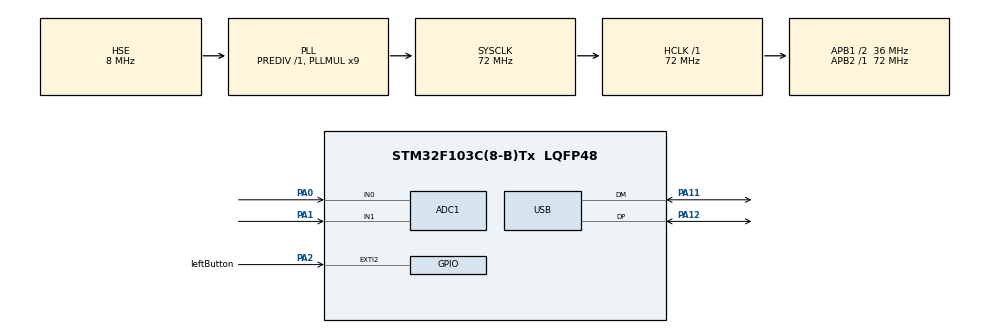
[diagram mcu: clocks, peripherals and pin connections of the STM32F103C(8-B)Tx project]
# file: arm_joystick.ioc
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ADC1.Channel-2\#ChannelRegularConversion=ADC_CHANNEL_0
ADC1.Channel-3\#ChannelRegularConversion=ADC_CHANNEL_1
ADC1.ContinuousConvMode=ENABLE
ADC1.NbrOfConversion=2
ADC1.NbrOfConversionFlag=1
ADC1.Rank-2\#ChannelRegularConversion=1
ADC1.Rank-3\#ChannelRegularConversion=2
ADC1.SamplingTime-2\#ChannelRegularConversion=ADC_SAMPLETIME_239CYCLES_5
ADC1.SamplingTime-3\#ChannelRegularConversion=ADC_SAMPLETIME_239CYCLES_5
ADC1.master=1
Dma.ADC1.0.Direction=DMA_PERIPH_TO_MEMORY
Dma.ADC1.0.Instance=DMA1_Channel1
Dma.ADC1.0.MemDataAlignment=DMA_MDATAALIGN_HALFWORD
Dma.ADC1.0.MemInc=DMA_MINC_ENABLE
Dma.ADC1.0.Mode=DMA_CIRCULAR
Dma.ADC1.0.PeriphDataAlignment=DMA_PDATAALIGN_HALFWORD
Dma.ADC1.0.PeriphInc=DMA_PINC_DISABLE
Dma.ADC1.0.Priority=DMA_PRIORITY_LOW
Dma.Request0=ADC1
Mcu.Family=STM32F1
Mcu.Name=STM32F103C(8-B)Tx
Mcu.Package=LQFP48
NVIC.DMA1_Channel1_IRQn=true\:0\:0\:false\:false\:true\:false\:true\:true
NVIC.EXTI2_IRQn=true\:0\:0\:false\:false\:true\:true\:true\:true
NVIC.PriorityGroup=NVIC_PRIORITYGROUP_4
NVIC.USB_LP_CAN1_RX0_IRQn=true\:0\:0\:false\:false\:true\:false\:true\:true
PA0-WKUP.Signal=ADCx_IN0
PA1.Signal=ADCx_IN1
PA11.Mode=Device
PA11.Signal=USB_DM
PA12.Mode=Device
PA12.Signal=USB_DP
PA13.Mode=JTAG_4_pins
PA13.Signal=SYS_JTMS-SWDIO
PA14.Mode=JTAG_4_pins
PA14.Signal=SYS_JTCK-SWCLK
PA15.Mode=JTAG_4_pins
PA15.Signal=SYS_JTDI
PA2.GPIO_Label=leftButton
PA2.GPIO_ModeDefaultEXTI=GPIO_MODE_IT_RISING_FALLING
PA2.GPIO_PuPd=GPIO_PULLUP
PA2.Signal=GPXTI2
PB3.Mode=JTAG_4_pins
PB3.Signal=SYS_JTDO-TRACESWO
PD0-OSC_IN.Mode=HSE-External-Oscillator
PD0-OSC_IN.Signal=RCC_OSC_IN
PD1-OSC_OUT.Mode=HSE-External-Oscillator
PD1-OSC_OUT.Signal=RCC_OSC_OUT
ProjectManager.HeapSize=0x200
ProjectManager.StackSize=0x400
ProjectManager.TargetToolchain=MDK-ARM V5.32
RCC.ADCPresc=RCC_ADCPCLK2_DIV6
RCC.AHBFreq_Value=72000000
RCC.APB1CLKDivider=RCC_HCLK_DIV2
RCC.APB1Freq_Value=36000000
RCC.APB1TimFreq_Value=72000000
RCC.APB2Freq_Value=72000000
RCC.APB2TimFreq_Value=72000000
RCC.HCLKFreq_Value=72000000
RCC.PLLMUL=RCC_PLL_MUL9
RCC.PLLSourceVirtual=RCC_PLLSOURCE_HSE
RCC.SYSCLKFreq_VALUE=72000000
RCC.SYSCLKSource=RCC_SYSCLKSOURCE_PLLCLK
RCC.USBFreq_Value=48000000
RCC.USBPrescaler=RCC_USBCLKSOURCE_PLL_DIV1_5
SH.ADCx_IN0.0=ADC1_IN0,IN0
SH.ADCx_IN1.0=ADC1_IN1,IN1
USB_DEVICE.CLASS_NAME_FS=HID
USB_DEVICE.MANUFACTURER_STRING=Snostorm
USB_DEVICE.PID_HID_FS=0x608D
USB_DEVICE.PRODUCT_STRING_HID_FS=ARM Joystick
USB_DEVICE.VID=0x17ef
USB_DEVICE.VirtualMode=Hid
USB_DEVICE.VirtualModeFS=Hid_FS
VP_USB_DEVICE_VS_USB_DEVICE_HID_FS.Mode=HID_FS
board=custom

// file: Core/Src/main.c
/* USER CODE BEGIN Header */
/**
  ******************************************************************************
  * @file           : main.c
  * @brief          : Main program body
  ******************************************************************************
  * @attention
  *
  * Copyright (c) 2023 STMicroelectronics.
  * All rights reserved.
  *
  * This software is licensed under terms that can be found in the LICENSE file
  * in the root directory of this software component.
  * If no LICENSE file comes with this software, it is provided AS-IS.
  *
  ******************************************************************************
  */
/* USER CODE END Header */
#include "main.h"
#include "usb_device.h"

/* USER CODE BEGIN Includes */
#include "usbd_hid.h"
#include "usbd_def.h"
/* USER CODE END Includes */

/* USER CODE BEGIN PTD */
typedef __packed struct _mouseReport_t
{
  //byte 0
  uint8_t leftButton  : 1;
  uint8_t rightButton : 1;
  uint8_t midButton   : 1;
  uint8_t res_0003    : 5;
  //byte 1
  int8_t x;
  //byte 2
  int8_t y;
  //byte 3
  int8_t wheel;
} mouseReport_t;
/* USER CODE END PTD */

/* USER CODE BEGIN PD */
#define MAX_ADC_VALUE_X       	4095
#define MIN_ADC_VALUE_X       	0
#define MAX_ADC_VALUE_Y       	4095
#define MIN_ADC_VALUE_Y       	0
#define MAX_NATIVE_MOUSE_RANGE	20.f										//127.f - max for this constant
/* USER CODE END PD */

ADC_HandleTypeDef hadc1;
DMA_HandleTypeDef hdma_adc1;

/* USER CODE BEGIN PV */
volatile uint8_t adcConversationFlag = 0;
volatile uint8_t buttonPressedFlag = 0;
volatile uint16_t adcValues[2];
mouseReport_t mouseReport;
extern USBD_HandleTypeDef hUsbDeviceFS;
extern USBD_ClassTypeDef  USBD_HID;
uint8_t adcConversationCounter = 0;
uint8_t zeroSetupFlag = 0;
uint16_t zeroMinX = 65535;
uint16_t zeroMaxX = 0;
uint16_t zeroMinY = 65535;
uint16_t zeroMaxY = 0;
uint16_t rangeMinusX = 0;
uint16_t rangePlusX = 0;
uint16_t rangeMinusY = 0;
uint16_t rangePlusY = 0;
/* USER CODE END PV */

void SystemClock_Config(void);
static void MX_GPIO_Init(void);
static void MX_DMA_Init(void);
static void MX_ADC1_Init(void);

/* USER CODE BEGIN 0 */

/**
  * @brief adc conversation callback (DMA)
  * @param hadc pointer to ADC descriptor
  */
void HAL_ADC_ConvCpltCallback(ADC_HandleTypeDef* hadc)
{
    if (hadc->Instance == ADC1)
        adcConversationFlag = 1;
}

/**
  * @brief EXTI change state callback
  * @param GPIO_Pin number of EXTI pin
  */
void HAL_GPIO_EXTI_Callback(uint16_t GPIO_Pin)
{
  if (GPIO_PIN_2 == GPIO_Pin)
    buttonPressedFlag = 1;
}

/* USER CODE END 0 */

int main(void)
{
  /* USER CODE BEGIN 1 */
  uint8_t tmpButtonState = 0;
  int8_t tmpX = 0;
  int8_t tmpY = 0;
  uint8_t *descriptor = 0;
  uint16_t length = 0;
  /* USER CODE END 1 */

  /* MCU Configuration--------------------------------------------------------*/

  /* Reset of all peripherals, Initializes the Flash interface and the Systick. */
  HAL_Init();

  /* Configure the system clock */
  SystemClock_Config();

  /* USER CODE BEGIN SysInit */
  descriptor = USBD_HID.GetHSConfigDescriptor(&length);
  descriptor[7] = 0x80;// self power - 0
  descriptor = USBD_HID.GetFSConfigDescriptor(&length);
  descriptor[7] = 0x80;// self power - 0
  descriptor = USBD_HID.GetOtherSpeedConfigDescriptor(&length);
  descriptor[7] = 0x80;// self power - 0
  /* USER CODE END SysInit */

  /* Initialize all configured peripherals */
  MX_GPIO_Init();
  MX_DMA_Init();
  MX_ADC1_Init();
  MX_USB_DEVICE_Init();
  /* USER CODE BEGIN 2 */
  memset(&mouseReport, 0, sizeof(mouseReport_t));
  HAL_ADCEx_Calibration_Start(&hadc1);                    //calibrate adc
  HAL_ADC_Start_DMA(&hadc1, (uint32_t *)&adcValues, 2);   //start adc
  /* USER CODE END 2 */

  /* Infinite loop */
  while (1)
  {

    /* USER CODE BEGIN 3 */
    if (0 != adcConversationFlag)
    {
      adcConversationFlag = 0;
      if (adcConversationCounter++ >= 100)                 // 2ms to approximate conversation
      {
        adcConversationCounter = 0;
        if (0 == zeroSetupFlag)
        {
          zeroSetupFlag = 1;
          rangeMinusX = zeroMinX - MIN_ADC_VALUE_X;
          rangePlusX = MAX_ADC_VALUE_X - zeroMaxX;
          rangeMinusY = zeroMinY - MIN_ADC_VALUE_Y;
          rangePlusY = MAX_ADC_VALUE_Y - zeroMaxY;
        }

        tmpX = (adcValues[0] >= zeroMinX && adcValues[0] <= zeroMaxX) ? 0 : (adcValues[0] < zeroMinX) ? 0 - (int8_t)((MAX_NATIVE_MOUSE_RANGE / rangeMinusX) * (zeroMinX - adcValues[0])) :
                                                                                                        (int8_t)((MAX_NATIVE_MOUSE_RANGE / rangePlusX) * (adcValues[0] - zeroMaxX));
        tmpY = (adcValues[1] >= zeroMinY && adcValues[1] <= zeroMaxY) ? 0 : (adcValues[1] < zeroMinY) ? 0 - (int8_t)((MAX_NATIVE_MOUSE_RANGE / rangeMinusY) * (zeroMinY - adcValues[1])) :
                                                                                                        (int8_t)((MAX_NATIVE_MOUSE_RANGE / rangePlusY) * (adcValues[1] - zeroMaxY));
        if (0 != tmpX || 0 != mouseReport.x || 0 != tmpY || 0 != mouseReport.y || tmpButtonState != mouseReport.leftButton || tmpButtonState == 1)
        {
          mouseReport.x = tmpX;
          mouseReport.y = tmpY;
          mouseReport.leftButton = tmpButtonState;
          USBD_HID_SendReport(&hUsbDeviceFS, (uint8_t *)&mouseReport, sizeof(mouseReport_t));
        }
      }
      else if (0 == zeroSetupFlag)
      {
        //X
        if (adcValues[0] > zeroMaxX)
          zeroMaxX = adcValues[0];
        if (adcValues[0] < zeroMinX)
          zeroMinX = adcValues[0];
        //Y
        if (adcValues[1] > zeroMaxY)
          zeroMaxY = adcValues[1];
        if (adcValues[1] < zeroMinY)
          zeroMinY = adcValues[1];
      }
      //TODO: may be get average value for report?
    }
    if (0 != buttonPressedFlag)
    {
      buttonPressedFlag = 0;
      tmpButtonState = (GPIO_PIN_SET == HAL_GPIO_ReadPin(GPIOA, GPIO_PIN_2)) ? 0 : 1;
    }
  }
  /* USER CODE END 3 */
}

void SystemClock_Config(void)
{
  RCC_OscInitTypeDef RCC_OscInitStruct = {0};
  RCC_ClkInitTypeDef RCC_ClkInitStruct = {0};
  RCC_PeriphCLKInitTypeDef PeriphClkInit = {0};

  /** Initializes the RCC Oscillators according to the specified parameters
  * in the RCC_OscInitTypeDef structure.
  */
  RCC_OscInitStruct.OscillatorType = RCC_OSCILLATORTYPE_HSE;
  RCC_OscInitStruct.HSEState = RCC_HSE_ON;
  RCC_OscInitStruct.HSEPredivValue = RCC_HSE_PREDIV_DIV1;
  RCC_OscInitStruct.HSIState = RCC_HSI_ON;
  RCC_OscInitStruct.PLL.PLLState = RCC_PLL_ON;
  RCC_OscInitStruct.PLL.PLLSource = RCC_PLLSOURCE_HSE;
  RCC_OscInitStruct.PLL.PLLMUL = RCC_PLL_MUL9;
  if (HAL_RCC_OscConfig(&RCC_OscInitStruct) != HAL_OK)
  {
    Error_Handler();
  }

  /** Initializes the CPU, AHB and APB buses clocks
  */
  RCC_ClkInitStruct.ClockType = RCC_CLOCKTYPE_HCLK|RCC_CLOCKTYPE_SYSCLK
                              |RCC_CLOCKTYPE_PCLK1|RCC_CLOCKTYPE_PCLK2;
  RCC_ClkInitStruct.SYSCLKSource = RCC_SYSCLKSOURCE_PLLCLK;
  RCC_ClkInitStruct.AHBCLKDivider = RCC_SYSCLK_DIV1;
  RCC_ClkInitStruct.APB1CLKDivider = RCC_HCLK_DIV2;
  RCC_ClkInitStruct.APB2CLKDivider = RCC_HCLK_DIV1;

  if (HAL_RCC_ClockConfig(&RCC_ClkInitStruct, FLASH_LATENCY_2) != HAL_OK)
  {
    Error_Handler();
  }
  PeriphClkInit.PeriphClockSelection = RCC_PERIPHCLK_ADC|RCC_PERIPHCLK_USB;
  PeriphClkInit.AdcClockSelection = RCC_ADCPCLK2_DIV6;
  PeriphClkInit.UsbClockSelection = RCC_USBCLKSOURCE_PLL_DIV1_5;
  if (HAL_RCCEx_PeriphCLKConfig(&PeriphClkInit) != HAL_OK)
  {
    Error_Handler();
  }
}

static void MX_ADC1_Init(void)
{

  ADC_ChannelConfTypeDef sConfig = {0};

  /** Common config
  */
  hadc1.Instance = ADC1;
  hadc1.Init.ScanConvMode = ADC_SCAN_ENABLE;
  hadc1.Init.ContinuousConvMode = ENABLE;
  hadc1.Init.DiscontinuousConvMode = DISABLE;
  hadc1.Init.ExternalTrigConv = ADC_SOFTWARE_START;
  hadc1.Init.DataAlign = ADC_DATAALIGN_RIGHT;
  hadc1.Init.NbrOfConversion = 2;
  if (HAL_ADC_Init(&hadc1) != HAL_OK)
  {
    Error_Handler();
  }

  /** Configure Regular Channel
  */
  sConfig.Channel = ADC_CHANNEL_0;
  sConfig.Rank = ADC_REGULAR_RANK_1;
  sConfig.SamplingTime = ADC_SAMPLETIME_239CYCLES_5;
  if (HAL_ADC_ConfigChannel(&hadc1, &sConfig) != HAL_OK)
  {
    Error_Handler();
  }

  /** Configure Regular Channel
  */
  sConfig.Channel = ADC_CHANNEL_1;
  sConfig.Rank = ADC_REGULAR_RANK_2;
  if (HAL_ADC_ConfigChannel(&hadc1, &sConfig) != HAL_OK)
  {
    Error_Handler();
  }

}

static void MX_DMA_Init(void)
{

  /* DMA controller clock enable */
  __HAL_RCC_DMA1_CLK_ENABLE();

  /* DMA interrupt init */
  /* DMA1_Channel1_IRQn interrupt configuration */
  HAL_NVIC_SetPriority(DMA1_Channel1_IRQn, 0, 0);
  HAL_NVIC_EnableIRQ(DMA1_Channel1_IRQn);

}

static void MX_GPIO_Init(void)
{
  GPIO_InitTypeDef GPIO_InitStruct = {0};

  /* GPIO Ports Clock Enable */
  __HAL_RCC_GPIOD_CLK_ENABLE();
  __HAL_RCC_GPIOA_CLK_ENABLE();
  __HAL_RCC_GPIOB_CLK_ENABLE();

  /*Configure GPIO pin : leftButton_Pin */
  GPIO_InitStruct.Pin = leftButton_Pin;
  GPIO_InitStruct.Mode = GPIO_MODE_IT_RISING_FALLING;
  GPIO_InitStruct.Pull = GPIO_PULLUP;
  HAL_GPIO_Init(leftButton_GPIO_Port, &GPIO_InitStruct);

  /* EXTI interrupt init*/
  HAL_NVIC_SetPriority(EXTI2_IRQn, 0, 0);
  HAL_NVIC_EnableIRQ(EXTI2_IRQn);

}

void Error_Handler(void)
{
  __disable_irq();
  while (1)
  {
  }
}
